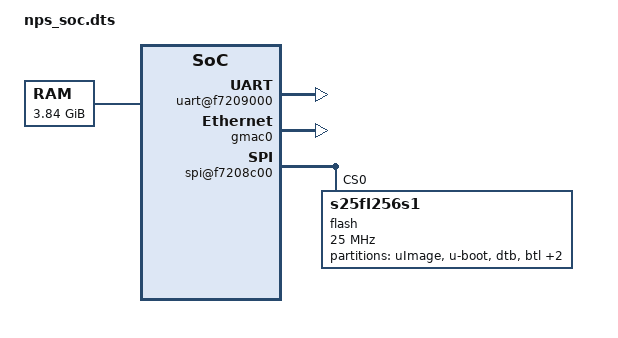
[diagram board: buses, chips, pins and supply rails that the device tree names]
/*
 * Copyright(c) 2015 EZchip Technologies.
 *
 * This program is free software; you can redistribute it and/or modify it
 * under the terms and conditions of the GNU General Public License,
 * version 2, as published by the Free Software Foundation.
 *
 * This program is distributed in the hope it will be useful, but WITHOUT
 * ANY WARRANTY; without even the implied warranty of MERCHANTABILITY or
 * FITNESS FOR A PARTICULAR PURPOSE.  See the GNU General Public License for
 * more details.
 *
 * The full GNU General Public License is included in this distribution in
 * the file called "COPYING".
 */

/dts-v1/;

/ {
	compatible = "ezchip,arc-nps";
	#address-cells = <1>;
	#size-cells = <1>;
	interrupt-parent = <&intc>;
	present-cpus = "0,16-4095";
	possible-cpus = "0-4095";
	init-possible-as-present = <1>;

	aliases {
		ethernet0 = &gmac0;
	};

	chosen {
		bootargs = "earlycon=uart8250,mmio32be,0xf7209000,115200n8 console=ttyS0,115200n8";
	};

	memory {
		device_type = "memory";
		reg = <0x80000000 0x76000000
			0x00000000 0x80000000>;    /* 1.88G, 2G */
	};

	clocks {
		sysclk: sysclk {
			compatible = "fixed-clock";
			#clock-cells = <0>;
			clock-frequency = <800000000>;
		};
	};

	soc {
		compatible = "simple-bus";
		#address-cells = <1>;
		#size-cells = <1>;

		/* child and parent address space 1:1 mapped */
		ranges;

		intc: interrupt-controller {
			compatible = "ezchip,nps400-ic";
			interrupt-controller;
			#interrupt-cells = <1>;
		};

		timer0: timer_clkevt {
			compatible = "ezchip,nps400-timer0";
			interrupts = <3>;
			clocks = <&sysclk>;
		};

		timer1: timer_clksrc {
			compatible = "ezchip,nps400-timer1";
			clocks = <&sysclk>;
			clock-names="sysclk";
		};

		uart@f7209000 {
			compatible = "snps,dw-apb-uart";
			device_type = "serial";
			reg = <0xf7209000 0x100>;
			interrupts = <6>;
			clocks = <&sysclk>;
			clock-names="baudclk";
			baud = <115200>;
			reg-shift = <2>;
			reg-io-width = <4>;
			native-endian;
		};

		gmac0: ethernet@f7070000 {
			compatible = "ezchip,nps-mgt-enet";
			reg = <0xf7070000 0x1940>;
			interrupts = <7>;
			/* Filled in by U-Boot */
			mac-address = [ 00 00 00 00 00 00 ];
		};

		spi@f7208c00 {
			compatible = "snps,dw-apb-ssi";
			#address-cells = <1>;
			#size-cells = <0>;
			reg = <0xf7208c00 0x100>;
			interrupts = <0>;
			clocks = <&sysclk>;
			num-cs = <1>;

			flash@0 {
				#address-cells = <1>;
				#size-cells = <1>;
				compatible = "s25fl256s1";
				reg = <0>;
				spi-max-frequency = <25000000>;
				spi-cpol;
				spi-cpha;

				partition@0 {
					label = "uImage";
					reg = <0x000000 0xe70000>;
				};

				partition@1 {
					label = "u-boot";
					reg = <0xe70000 0x80000>;
				};

				partition@2 {
					label = "dtb";
					reg = <0xef0000 0x10000>;
				};

				partition@3 {
					label = "btl";
					reg = <0xf00000 0x80000>;
				};

				partition@4 {
					label = "btl-redundancy";
					reg = <0xf80000 0x70000>;
				};

				partition@5 {
					label = "u-boot-env";
					reg = <0xff0000 0x10000>;
				};
			};
		};

		arcpmu0: pmu {
			compatible = "ezchip,nps-pct";
		};
	};
};
